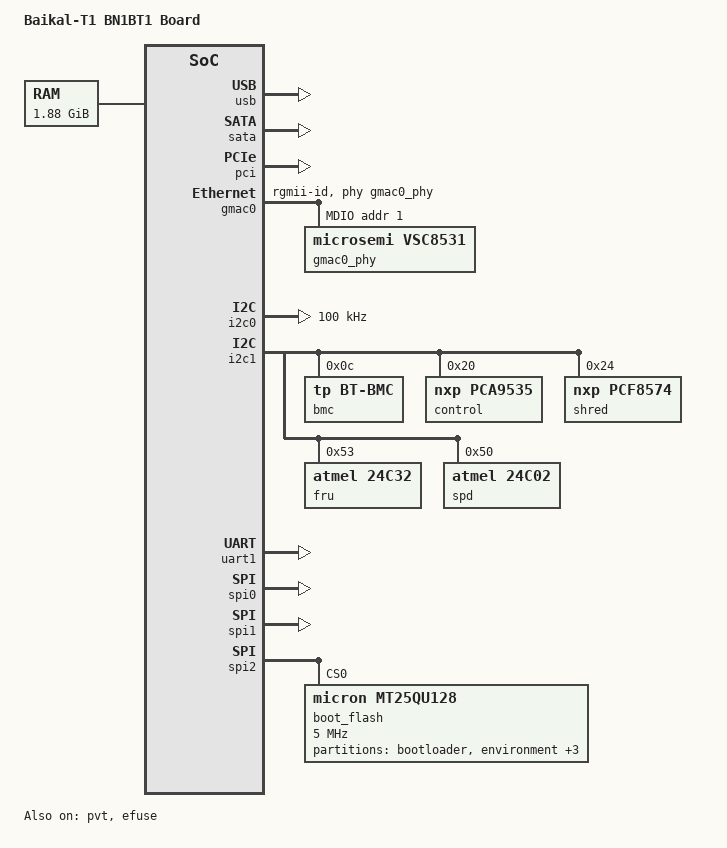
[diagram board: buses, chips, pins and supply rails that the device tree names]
/*
 * Baikal-T1 BN1BT1 board device tree
 *
 * Copyright (C) 2019 T-platforms JSC
 *
 * This program is free software; you can redistribute it and/or
 * modify it under the terms of the GNU General Public License
 * as published by the Free Software Foundation; either version 2
 * of the License, or (at your option) any later version.
 */

/dts-v1/;

#include <dt-bindings/interrupt-controller/mips-gic.h>
#include <dt-bindings/gpio/gpio.h>

#include "baikal_t1_soc.dtsi"

/ {
	model = "Baikal-T1 BN1BT1 Board";
	compatible = "baikal,mips", "baikal,baikal-t1-soc", "tplatforms,baikal-bn1bt1-board";

	chosen {
		bootargs = "root=/dev/ram rw console=ttyS0,115200n8 earlyprintk=uart8250,mmio32,0x1F04A000,115200 nohtw";
		linux,initrd-start = <0 0x01000000>;
		linux,initrd-end   = <0 0x02000000>;
	};

	memory {
		device_type = "memory";
		reg = <0 0x00000000 0 0x08000000>,
		      <0 0x20000000 0 0x70000000>;
	};
};

&usb {
	status = "okay";
};

&sata {
	status = "okay";
};

&pci {
	status = "okay";
};

&gmac0 {
	status = "okay";
	phy-mode = "rgmii-id";
	phy-handle = <&gmac0_phy>;
	snps,reset-gp-out;
	snps,reset-active-low;
	snps,reset-delays-us = <0 2000 16000>;

	gmdio0: gmac0_mdio {
		compatible = "snps,dwmac-mdio";
		#address-cells = <1>;
		#size-cells = <0>;

		gmac0_phy: ethernet-phy@1 {
			compatible = "microsemi,vsc8531", "ethernet-phy-id0007.0570", "ethernet-phy-ieee802.3-c22", "ethernet-phy-ieee802.3-c45";
			reg = <0x1>;

			vsc8531,vddmac = <1800>;
			vsc8531,edge-slowdown = <0>;
		};
	};
};

&gpio {
	status = "okay";
};

&gpio3 {
	status = "okay";
};

&i2c0 {
	status = "okay";

	clock-frequency = <100000>;
};

&i2c1 {
	status = "okay";

	bmc@8 {
		compatible = "tp,bt-bmc";
		reg = <0x0c>;
	};

	control: gpioexp@20 {
		compatible = "nxp,pca9535";
		reg = <0x20>;
		gpio-controller;
		#gpio-cells = <2>;
	};

	shred: gpio@24 {
		compatible = "nxp,pcf8574";
		reg = <0x24>;
		gpio-controller;
		#gpio-cells = <2>;
		lines-initial-states = <0x0>;
	};

	fru: eeprom@53 {
		compatible = "atmel,24c32";
		pagesize = <32>;
		reg = <0x53>;
	};

	spd: eeprom@50 {
		compatible = "atmel,24c02";
		pagesize = <8>;
		reg = <0x50>;
	};
};

&uart1 {
	status = "okay";

	dcd-override;
	dsr-override;
	cts-override;
	ri-override;
};

&spi0 {
	num-cs = <2>;
	cs-gpios = <&porta 14 GPIO_ACTIVE_LOW>, <0>;
	status = "okay";

#if 0
	mmc-slot@0 {
		compatible = "fsl,mpc8323rdb-mmc-slot", "mmc-spi-slot";
		reg = <0>;
		gpios = <&porta 15 GPIO_ACTIVE_LOW>, <0>;
		voltage-ranges = <2000 3600>;
		spi-max-frequency = <15000000>;
	};
#endif
};

&spi1 {
	num-cs = <1>;
	cs-gpios = <0>;
	status = "okay";
};

&spi2 {
	status = "okay";
	num-cs = <1>;

	boot_flash: mt25qu128@0 {
		#address-cells = <1>;
		#size-cells = <1>;
		reg = <0>;
		compatible = "micron,mt25qu128", "jedec,spi-nor";
		spi-max-frequency = <5000000>;
		m25p,fast-read;

		partition@0 {
			label = "bootloader";
			reg = <0x0 0xE0000>;
			read-only;
		};

		partition@1 {
			label = "environment";
			reg = <0xE0000 0x10000>;
		};

		partition@2 {
			label = "information";
			reg = <0xF0000 0x10000>;
			read-only;
		};

		partition@3 {
			label = "multiimage";
			reg = <0x100000 0xF00000>;
			read-only;
		};

		partition@4 {
			label = "firmware";
			reg = <0x0 0x1000000>;
		};
	};
};

&pvt {
	status = "okay";
};

&efuse {
	status = "okay";
};
